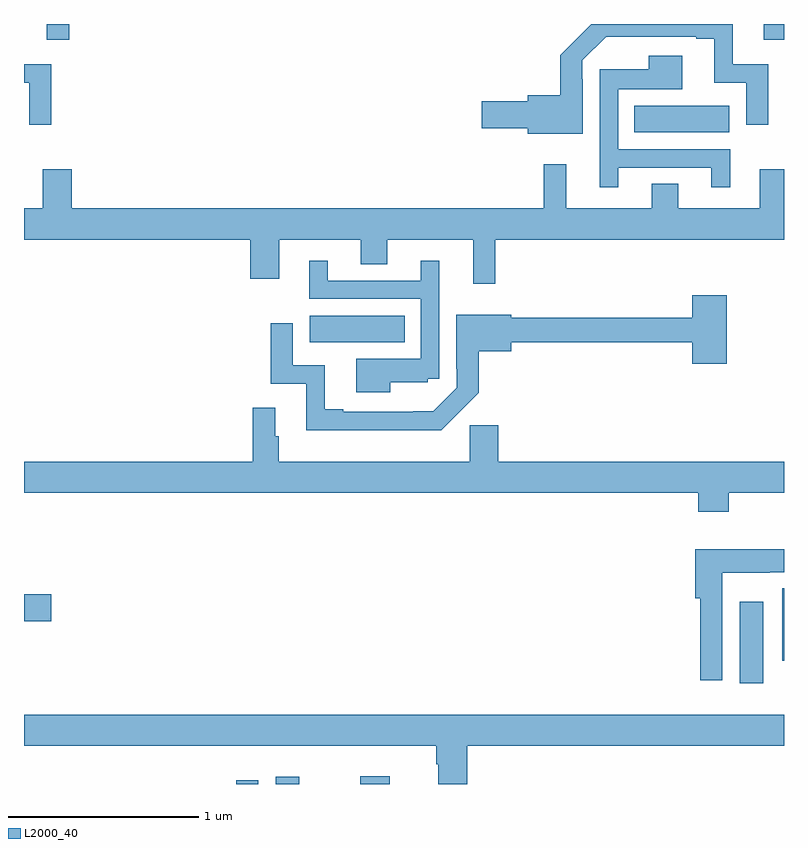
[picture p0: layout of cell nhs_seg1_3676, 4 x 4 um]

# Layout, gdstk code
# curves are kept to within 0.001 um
import gdstk
lib = gdstk.Library(unit=1e-6, precision=1e-09)
def R(c, l, rs):  # rectangles x0, y0, x1, y1
    for r in rs: c.add(gdstk.rectangle(r[:2], r[2:], *l))
def P(c, l, *ps):  # polygons
    for p in ps: c.add(gdstk.Polygon(p, *l))
L2000_40 = (2000, 40)

nhs_seg1_3676 = lib.new_cell('nhs_seg1_3676')
R(nhs_seg1_3676, L2000_40, [(312.118,550.199,312.234,550.219), (312.326,550.199,312.448,550.237), (312.77,550.199,312.925,550.24), (314.768,550.728,314.89,551.158), (314.99,550.848,315,551.228), (311,551.056,311.143,551.198), (312.504,552.524,313.004,552.664), (314.212,553.628,314.713,553.768), (311.12,554.115,311.237,554.199), (314.894,554.115,315,554.199)])
P(nhs_seg1_3676, L2000_40, [(313.941,553.907),(313.938,553.907),(313.938,554.007),(314.064,554.133),(314.537,554.133),(314.537,554.121),(314.633,554.121),(314.633,553.89),(314.802,553.89),(314.802,553.668),(314.918,553.668),(314.918,553.986),(314.731,553.986),(314.731,554.199),(313.986,554.199),(313.823,554.035),(313.823,553.824),(313.652,553.824),(313.652,553.793),(313.41,553.793),(313.41,553.651),(313.652,553.651),(313.652,553.622),(313.941,553.622)],
  [(314.128,553.443),(314.618,553.443),(314.618,553.341),(314.716,553.341),(314.716,553.539),(314.127,553.539),(314.127,553.856),(314.464,553.856),(314.464,554.032),(314.288,554.032),(314.288,553.96),(314.031,553.96),(314.031,553.341),(314.128,553.341)],
  [(311.144,553.986),(311,553.986),(311,553.89),(311.028,553.89),(311.028,553.668),(311.144,553.668)],
  [(311.252,553.435),(311.099,553.435),(311.099,553.228),(311,553.228),(311,553.064),(312.191,553.064),(312.191,552.858),(312.343,552.858),(312.343,553.064),(312.773,553.064),(312.773,552.934),(312.913,552.934),(312.913,553.064),(313.364,553.064),(313.364,552.831),(313.481,552.831),(313.481,553.064),(315,553.064),(315,553.435),(314.873,553.435),(314.873,553.228),(314.443,553.228),(314.443,553.358),(314.303,553.358),(314.303,553.228),(313.853,553.228),(313.853,553.462),(313.735,553.462),(313.735,553.228),(311.252,553.228)],
  [(312.928,552.314),(313.125,552.314),(313.125,552.333),(313.185,552.333),(313.185,552.952),(313.088,552.952),(313.088,552.849),(312.598,552.849),(312.598,552.952),(312.5,552.952),(312.5,552.753),(313.089,552.753),(313.089,552.436),(312.749,552.436),(312.749,552.26),(312.928,552.26)],
  [(313.394,552.257),(313.394,552.476),(313.564,552.476),(313.564,552.523),(314.516,552.523),(314.516,552.411),(314.699,552.411),(314.699,552.772),(314.516,552.772),(314.516,552.652),(313.564,552.652),(313.564,552.67),(313.275,552.67),(313.275,552.385),(313.278,552.385),(313.278,552.285),(313.153,552.16),(312.679,552.159),(312.679,552.172),(312.583,552.172),(312.583,552.402),(312.414,552.402),(312.414,552.625),(312.298,552.625),(312.298,552.306),(312.485,552.306),(312.485,552.062),(312.997,552.062),(312.997,552.06),(313.196,552.06)],
  [(314.709,551.732),(315,551.732),(315,551.896),(313.496,551.896),(313.496,552.087),(313.345,552.087),(313.345,551.896),(312.341,551.896),(312.341,552.029),(312.322,552.029),(312.322,552.178),(312.205,552.178),(312.205,551.896),(311,551.896),(311,551.732),(314.549,551.732),(314.549,551.633),(314.709,551.633)],
  [(314.676,551.312),(314.925,551.312),(314.925,551.313),(315,551.313),(315,551.434),(314.534,551.434),(314.534,551.177),(314.56,551.177),(314.56,550.746),(314.676,550.746)],
  [(313.334,550.4),(315,550.4),(315,550.564),(311,550.564),(311,550.4),(313.169,550.4),(313.169,550.304),(313.181,550.304),(313.181,550.199),(313.334,550.199)])

lib.write_gds('nhs_seg1_3676.gds')
